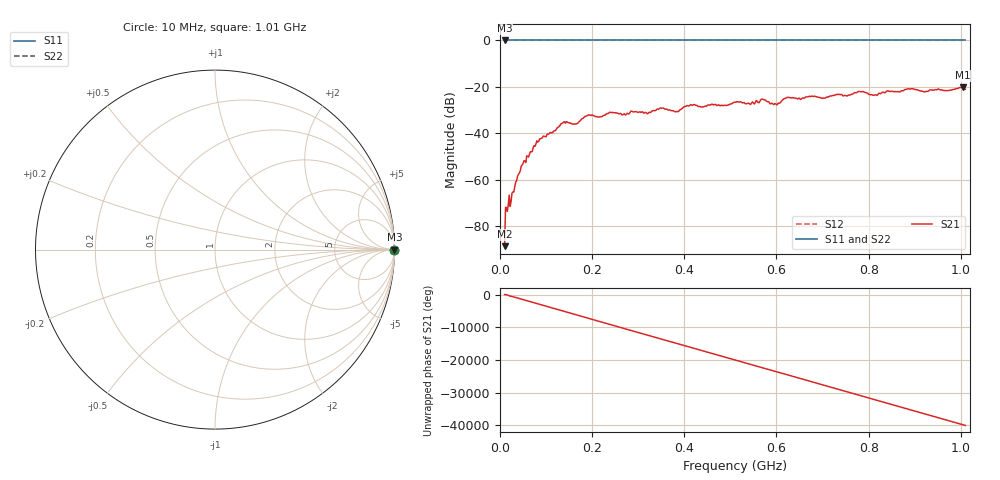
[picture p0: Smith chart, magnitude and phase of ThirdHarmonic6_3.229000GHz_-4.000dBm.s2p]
! 8/17/2025 9:52:44 AM
! C:\ANRITSUVNA\TEMP\TEMP.S2P
! CHANNEL.1
! TR.MEASUREMENT
! RAW.DATA
! RF.CORRECTION.OFF
! AVERAGING.OFF
! IF.BANDWIDTH: 5KHZ
! SWEEPTYPE:  FREQ.SWEEP(Linear)
! Reference Plane Port Info
! PORT:  PORT1  PORT2
! DISTANCE:  0  m  0  m
! TIME:  0  s  0  s
! PHASE.OFFSET:  0  deg.  0  deg.
! LOSS:  0  dB  0  dB
! REF.LOSS:  0  dB  0  dB
! REF.FREQ:  0  Hz  0  Hz
! Power Info
! POWER:  -20  dBm  -20  dBm
! EFF.POWER:  -20  dBm  -20  dBm
! SOURCE.ATTEN:  0  dB  0  dB
! TEST.ATTEN:  0  dB  0  dB
# GHZ S RI R 50.0
! FREQ.GHZ  S11RE  S11IM  S21RE  S21IM  S12RE  S12IM  S22RE  S22IM
!; PortSelection: Port_12
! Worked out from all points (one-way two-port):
!   501 points, 10 MHz to 1.01 GHz, reference 50 ohm
!   highest |S21| = -20.20 dB at 1.004 GHz (marker M1); lowest = -88.7 dB at 10 MHz (marker M2)
!   lowest |S11| = 0.0 dB at 10 MHz (marker M3)
!   |S11| at or under -10 dB: nowhere
!   |S22| runs from 0.0 to 0.0 dB; largest |S21 - S12| = 1.1
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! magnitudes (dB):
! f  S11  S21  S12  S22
! 10 MHz  0.0  -88.7  0.0  0.0
! 16 MHz  0.0  -73.7  0.0  0.0
! 26 MHz  0.0  -65.9  0.0  0.0
! 48 MHz  0.0  -53.7  0.0  0.0
! 76 MHz  0.0  -45.6  0.0  0.0
! 136 MHz  0.0  -35.6  0.0  0.0
! 164 MHz  0.0  -36.1  0.0  0.0
! 178 MHz  0.0  -33.7  0.0  0.0
! 344 MHz  0.0  -29.7  0.0  0.0
! 384 MHz  0.0  -30.6  0.0  0.0
! 418 MHz  0.0  -28.0  0.0  0.0
! 510 MHz  0.0  -26.6  0.0  0.0
! 570 MHz  0.0  -25.3  0.0  0.0
! 598 MHz  0.0  -27.3  0.0  0.0
! 622 MHz  0.0  -24.7  0.0  0.0
! 678 MHz  0.0  -24.1  0.0  0.0
! 702 MHz  0.0  -24.8  0.0  0.0
! 782 MHz  0.0  -22.1  0.0  0.0
! 814 MHz  0.0  -23.5  0.0  0.0
! 844 MHz  0.0  -21.8  0.0  0.0
! 1.004 GHz  0.0  -20.2  0.0  0.0
! 1.01 GHz  0.0  -21.0  0.0  0.0
